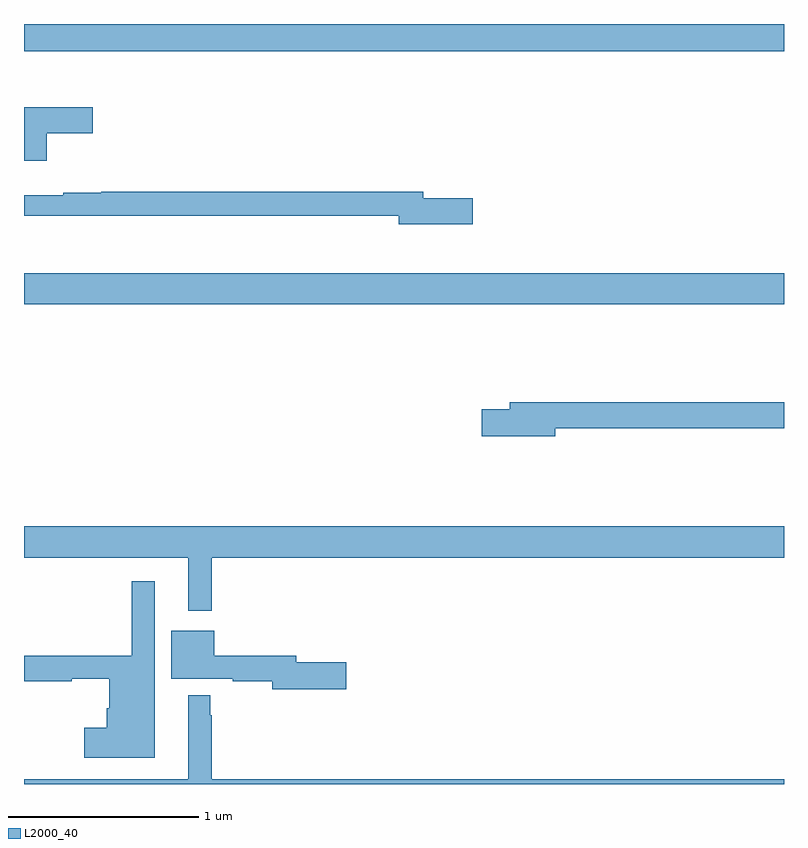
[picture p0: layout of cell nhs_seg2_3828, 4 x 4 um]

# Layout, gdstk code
import gdstk
lib = gdstk.Library(unit=1e-6, precision=1e-09)
def R(c, l, rs):  # rectangles x0, y0, x1, y1
    for r in rs: c.add(gdstk.rectangle(r[:2], r[2:], *l))
def P(c, l, *ps):  # polygons
    for p in ps: c.add(gdstk.Polygon(p, *l))
L2000_40 = (2000, 40)

nhs_seg2_3828 = lib.new_cell('nhs_seg2_3828')
R(nhs_seg2_3828, L2000_40, [(313,626.324,317,626.488), (313,627.656,317,627.8)])
P(nhs_seg2_3828, L2000_40, [(313.12,627.226),(313.363,627.226),(313.363,627.363),(313,627.363),(313,627.08),(313.12,627.08)],
  [(315.361,626.882),(315.1,626.882),(315.1,626.918),(313.406,626.918),(313.406,626.911),(313.206,626.911),(313.206,626.9),(313,626.9),(313,626.79),(314.972,626.79),(314.972,626.747),(315.361,626.747)],
  [(315.796,625.672),(317,625.672),(317,625.808),(315.557,625.808),(315.557,625.772),(315.408,625.772),(315.408,625.63),(315.796,625.63)],
  [(313.987,624.992),(317,624.992),(317,625.156),(313,625.156),(313,624.992),(313.865,624.992),(313.865,624.711),(313.987,624.711)],
  [(313.687,624.868),(313.566,624.868),(313.566,624.476),(313,624.476),(313,624.34),(313.252,624.34),(313.252,624.355),(313.448,624.355),(313.448,624.198),(313.436,624.198),(313.436,624.097),(313.317,624.097),(313.317,623.939),(313.687,623.939)],
  [(314.695,624.44),(314.434,624.44),(314.434,624.476),(314.002,624.476),(314.002,624.607),(313.775,624.607),(313.775,624.353),(314.098,624.353),(314.098,624.34),(314.306,624.34),(314.306,624.298),(314.695,624.298)],
  [(317,623.824),(313.987,623.824),(313.987,624.161),(313.98,624.161),(313.98,624.268),(313.865,624.268),(313.865,623.824),(313,623.824),(313,623.8),(317,623.8)])

lib.write_gds('nhs_seg2_3828.gds')
